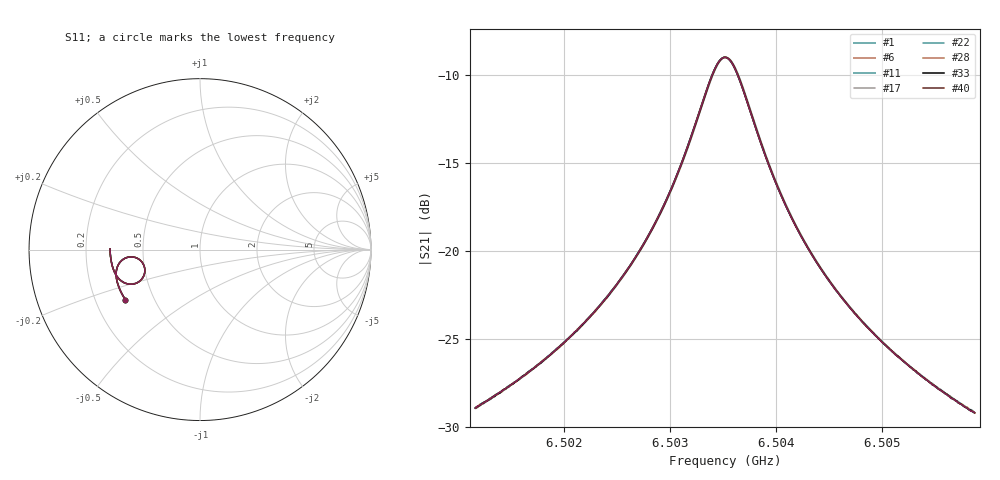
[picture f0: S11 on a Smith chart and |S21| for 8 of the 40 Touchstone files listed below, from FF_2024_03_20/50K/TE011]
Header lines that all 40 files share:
#  HZ  S  RI  R  50.00
! Rohde & Schwarz Vector Network Analyzer
! Rohde-Schwarz,ZNB20-2Port,1311601062101988,3.16
! freq[Hz]  re:S11  im:S11  re:S21  im:S21  re:S12  im:S12  re:S22  im:S22
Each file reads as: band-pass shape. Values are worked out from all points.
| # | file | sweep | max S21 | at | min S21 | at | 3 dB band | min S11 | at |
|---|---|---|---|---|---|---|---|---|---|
| 1 | 0_1_48.198_50.1954918_0.271_1.206629753112793_.s2p | 6.501164 GHz to 6.505876 GHz | -9.02 dB | 6.50352 GHz | -29.2 dB | 6.505876 GHz | 6.503297 GHz-6.503756 GHz | -9.4 dB | 6.50352 GHz |
| 2 | 1_1_48.2001_50.1964035_0.271_3.6148900985717773_.s2p | 6.501164 GHz to 6.505877 GHz | -9.01 dB | 6.50352 GHz | -29.2 dB | 6.505877 GHz | 6.503297 GHz-6.503744 GHz | -9.4 dB | 6.50352 GHz |
| 3 | 2_1_48.1969_50.1958656_0.271_6.019742965698242_.s2p | 6.501165 GHz to 6.505876 GHz | -9.01 dB | 6.50352 GHz | -29.2 dB | 6.505876 GHz | 6.503297 GHz-6.503756 GHz | -9.4 dB | 6.50352 GHz |
| 4 | 3_1_48.2007_50.1966286_0.271_8.435057163238525_.s2p | 6.501165 GHz to 6.505876 GHz | -9.02 dB | 6.50352 GHz | -29.2 dB | 6.505876 GHz | 6.503285 GHz-6.503756 GHz | -9.4 dB | 6.50352 GHz |
| 5 | 4_1_48.2001_50.1960983_0.271_10.821271896362305_.s2p | 6.501164 GHz to 6.505877 GHz | -9.02 dB | 6.50352 GHz | -29.2 dB | 6.505877 GHz | 6.503285 GHz-6.503756 GHz | -9.4 dB | 6.50352 GHz |
| 6 | 5_1_48.2023_50.1955681_0.436_13.243066787719727_.s2p | 6.501162 GHz to 6.505879 GHz | -9.02 dB | 6.50352 GHz | -29.2 dB | 6.505879 GHz | 6.503296 GHz-6.503745 GHz | -9.4 dB | 6.50352 GHz |
| 7 | 6_1_48.1991_50.1955681_0.511_15.669876337051392_.s2p | 6.501163 GHz to 6.505878 GHz | -9.01 dB | 6.50352 GHz | -29.2 dB | 6.505878 GHz | 6.503296 GHz-6.503744 GHz | -9.4 dB | 6.50352 GHz |
| 8 | 7_1_48.2049_50.1951103_0.526_18.270942449569702_.s2p | 6.501165 GHz to 6.505876 GHz | -9.01 dB | 6.503521 GHz | -29.2 dB | 6.505876 GHz | 6.503285 GHz-6.503744 GHz | -9.4 dB | 6.503521 GHz |
| 9 | 8_1_48.2039_50.1969376_0.451_20.67748761177063_.s2p | 6.501165 GHz to 6.505876 GHz | -9.01 dB | 6.50352 GHz | -29.2 dB | 6.505876 GHz | 6.503297 GHz-6.503744 GHz | -9.4 dB | 6.50352 GHz |
| 10 | 9_1_48.2017_50.1959496_0.316_23.098758459091187_.s2p | 6.501166 GHz to 6.505875 GHz | -9.01 dB | 6.503521 GHz | -29.2 dB | 6.505875 GHz | 6.503285 GHz-6.503756 GHz | -9.4 dB | 6.503521 GHz |
| 11 | 10_1_48.1969_50.1968613_3.42_31.896620988845825_.s2p | 6.501164 GHz to 6.505877 GHz | -9.02 dB | 6.50352 GHz | -29.2 dB | 6.505877 GHz | 6.503297 GHz-6.503756 GHz | -9.4 dB | 6.50352 GHz |
| 12 | 11_1_48.2033_50.1970863_147.933_34.308149099349976_.s2p | 6.501164 GHz to 6.505877 GHz | -9.02 dB | 6.503521 GHz | -29.2 dB | 6.505877 GHz | 6.503285 GHz-6.503756 GHz | -9.4 dB | 6.503521 GHz |
| 13 | 12_1_48.2022_50.1958656_363.133_36.74149537086487_.s2p | 6.501163 GHz to 6.505878 GHz | -9.02 dB | 6.503521 GHz | -29.2 dB | 6.505878 GHz | 6.503297 GHz-6.503756 GHz | -9.4 dB | 6.503521 GHz |
| 14 | 13_1_48.1974_50.1964798_610.544_39.16422462463379_.s2p | 6.501163 GHz to 6.505879 GHz | -9.02 dB | 6.503521 GHz | -29.2 dB | 6.505879 GHz | 6.503297 GHz-6.503757 GHz | -9.4 dB | 6.503521 GHz |
| 15 | 14_1_48.2011_50.1966286_848.717_41.598146200180054_.s2p | 6.501166 GHz to 6.505879 GHz | -9.01 dB | 6.503522 GHz | -29.2 dB | 6.505879 GHz | 6.503298 GHz-6.503758 GHz | -9.4 dB | 6.503522 GHz |
| 16 | 15_1_48.2001_50.1960983_1095.679_44.044599533081055_.s2p | 6.501169 GHz to 6.505879 GHz | -9.01 dB | 6.503524 GHz | -29.2 dB | 6.505879 GHz | 6.5033 GHz-6.503759 GHz | -9.4 dB | 6.503524 GHz |
| 17 | 16_1_48.2017_50.1954918_1364.825_46.431946992874146_.s2p | 6.50117 GHz to 6.50588 GHz | -9.02 dB | 6.503525 GHz | -29.2 dB | 6.50588 GHz | 6.503301 GHz-6.50376 GHz | -9.4 dB | 6.503525 GHz |
| 18 | 17_1_48.201_50.196331_1553.764_48.865628242492676_.s2p | 6.501169 GHz to 6.505882 GHz | -9.02 dB | 6.503526 GHz | -29.2 dB | 6.505882 GHz | 6.503302 GHz-6.503761 GHz | -9.4 dB | 6.503526 GHz |
| 19 | 18_1_48.1988_50.1972427_1847.672_51.28555107116699_.s2p | 6.501171 GHz to 6.505882 GHz | -9.01 dB | 6.503527 GHz | -29.2 dB | 6.505882 GHz | 6.503303 GHz-6.503762 GHz | -9.4 dB | 6.503527 GHz |
| 20 | 19_1_48.2009_50.1958656_2046.428_53.70058274269104_.s2p | 6.501174 GHz to 6.50588 GHz | -9.01 dB | 6.503527 GHz | -29.2 dB | 6.50588 GHz | 6.503303 GHz-6.503762 GHz | -9.4 dB | 6.503527 GHz |
| 21 | 20_1_48.2014_50.1959763_2306.309_56.10949921607971_.s2p | 6.501173 GHz to 6.505882 GHz | -9.01 dB | 6.503527 GHz | -29.2 dB | 6.505882 GHz | 6.503304 GHz-6.503763 GHz | -9.4 dB | 6.503527 GHz |
| 22 | 21_1_48.1994_50.1959_2526.06_58.50912690162659_.s2p | 6.501174 GHz to 6.505882 GHz | -9.01 dB | 6.503528 GHz | -29.2 dB | 6.505882 GHz | 6.503292 GHz-6.503751 GHz | -9.4 dB | 6.503528 GHz |
| 23 | 22_1_48.1968_50.1957436_2804.628_60.94417858123779_.s2p | 6.501173 GHz to 6.505882 GHz | -9.01 dB | 6.503528 GHz | -29.2 dB | 6.505882 GHz | 6.503304 GHz-6.503763 GHz | -9.4 dB | 6.503528 GHz |
| 24 | 23_1_48.1992_50.1955948_3023.722_63.36714720726013_.s2p | 6.501174 GHz to 6.505881 GHz | -9.02 dB | 6.503528 GHz | -29.2 dB | 6.505881 GHz | 6.503292 GHz-6.503751 GHz | -9.4 dB | 6.503528 GHz |
| 25 | 24_1_48.2018_50.1944504_3242.983_66.01415848731995_.s2p | 6.501172 GHz to 6.505883 GHz | -9.01 dB | 6.503527 GHz | -29.2 dB | 6.505883 GHz | 6.503292 GHz-6.503751 GHz | -9.4 dB | 6.503527 GHz |
| 26 | 25_1_48.2033_50.1948318_3520.217_68.42136979103088_.s2p | 6.501172 GHz to 6.505882 GHz | -9.01 dB | 6.503527 GHz | -29.2 dB | 6.505882 GHz | 6.503292 GHz-6.503751 GHz | -9.4 dB | 6.503527 GHz |
| 27 | 26_1_48.198_50.1958237_3747.945_70.84473490715027_.s2p | 6.501173 GHz to 6.50588 GHz | -9.02 dB | 6.503527 GHz | -29.2 dB | 6.50588 GHz | 6.503291 GHz-6.50375 GHz | -9.4 dB | 6.503527 GHz |
| 28 | 27_1_48.1954_50.1948318_3999.418_73.24409031867981_.s2p | 6.501172 GHz to 6.50588 GHz | -9.02 dB | 6.503526 GHz | -29.2 dB | 6.50588 GHz | 6.503291 GHz-6.50375 GHz | -9.4 dB | 6.503526 GHz |
| 29 | 28_1_48.2008_50.1954422_4249.298_75.67903852462769_.s2p | 6.501172 GHz to 6.505879 GHz | -9.02 dB | 6.503526 GHz | -29.2 dB | 6.505879 GHz | 6.50329 GHz-6.503749 GHz | -9.4 dB | 6.503526 GHz |
| 30 | 29_1_48.1999_50.1956673_4490.181_78.1019356250763_.s2p | 6.501169 GHz to 6.505881 GHz | -9.01 dB | 6.503525 GHz | -29.2 dB | 6.505881 GHz | 6.50329 GHz-6.503749 GHz | -9.4 dB | 6.503525 GHz |
| 31 | 30_1_48.2044_50.1968117_4720.788_80.5456907749176_.s2p | 6.501172 GHz to 6.505878 GHz | -9.02 dB | 6.503525 GHz | -29.2 dB | 6.505878 GHz | 6.50329 GHz-6.503749 GHz | -9.4 dB | 6.503525 GHz |
| 32 | 31_1_48.1984_50.1959763_4970.885_82.96693849563599_.s2p | 6.501171 GHz to 6.505878 GHz | -9.02 dB | 6.503525 GHz | -29.2 dB | 6.505878 GHz | 6.503289 GHz-6.503748 GHz | -9.3 dB | 6.503525 GHz |
| 33 | 32_1_48.1972_50.1939926_5841.427_91.24082684516907_.s2p | 6.501172 GHz to 6.505876 GHz | -9.02 dB | 6.503524 GHz | -29.2 dB | 6.505876 GHz | 6.503289 GHz-6.503748 GHz | -9.3 dB | 6.503524 GHz |
| 34 | 33_1_48.201_50.1956673_6031.305_93.79285216331482_.s2p | 6.501169 GHz to 6.505876 GHz | -9.02 dB | 6.503523 GHz | -29.2 dB | 6.505876 GHz | 6.503287 GHz-6.503746 GHz | -9.4 dB | 6.503523 GHz |
| 35 | 34_1_48.2_50.1963577_6311.641_96.21376657485962_.s2p | 6.501168 GHz to 6.505877 GHz | -9.02 dB | 6.503522 GHz | -29.2 dB | 6.505877 GHz | 6.503287 GHz-6.503746 GHz | -9.4 dB | 6.503522 GHz |
| 36 | 35_1_48.2016_50.1959763_6552.044_98.62392926216125_.s2p | 6.501166 GHz to 6.505878 GHz | -9.02 dB | 6.503522 GHz | -29.2 dB | 6.505878 GHz | 6.503298 GHz-6.503746 GHz | -9.3 dB | 6.503522 GHz |
| 37 | 36_1_48.199_50.1947556_6802.527_101.10632181167603_.s2p | 6.501169 GHz to 6.505874 GHz | -9.02 dB | 6.503522 GHz | -29.2 dB | 6.505874 GHz | 6.503286 GHz-6.503745 GHz | -9.3 dB | 6.503522 GHz |
| 38 | 37_1_48.1996_50.1943741_7042.473_103.51753687858582_.s2p | 6.501167 GHz to 6.505875 GHz | -9.02 dB | 6.503521 GHz | -29.2 dB | 6.505875 GHz | 6.503286 GHz-6.503745 GHz | -9.3 dB | 6.503521 GHz |
| 39 | 38_1_48.1996_50.1949883_7282.645_105.97279715538025_.s2p | 6.501167 GHz to 6.505875 GHz | -9.02 dB | 6.503521 GHz | -29.2 dB | 6.505875 GHz | 6.503286 GHz-6.503745 GHz | -9.3 dB | 6.503521 GHz |
| 40 | 39_1_48.198_50.1953697_7522.858_108.41878414154053_.s2p | 6.501167 GHz to 6.505874 GHz | -9.02 dB | 6.503521 GHz | -29.2 dB | 6.505874 GHz | 6.503285 GHz-6.503744 GHz | -9.3 dB | 6.503521 GHz |
